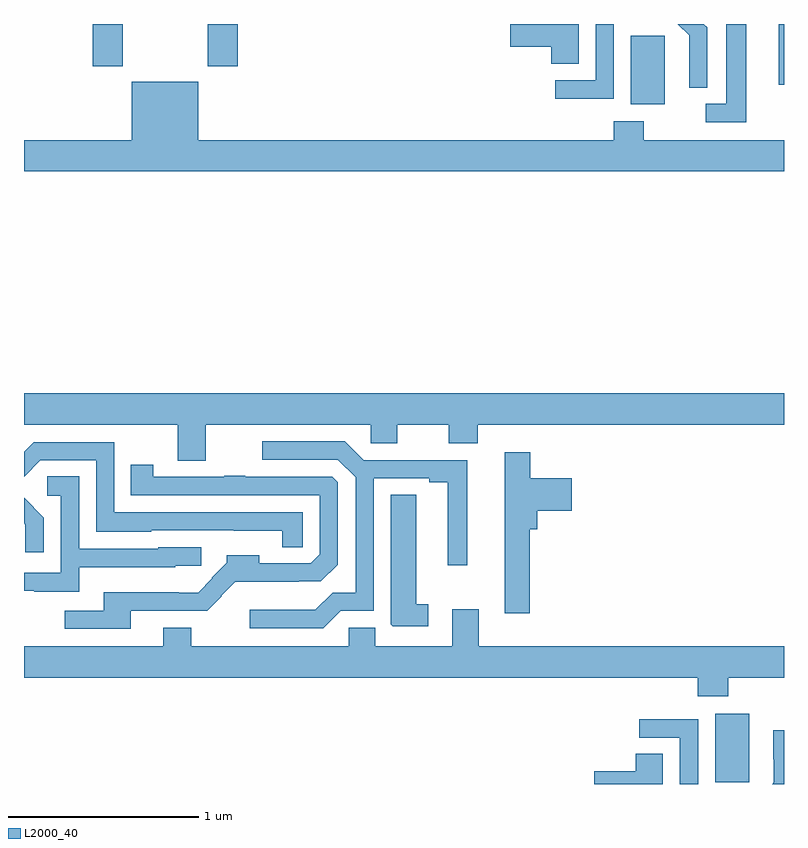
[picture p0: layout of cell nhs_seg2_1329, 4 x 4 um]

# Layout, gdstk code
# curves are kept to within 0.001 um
import gdstk
lib = gdstk.Library(unit=1e-6, precision=1e-09)
def R(c, l, rs):  # rectangles x0, y0, x1, y1
    for r in rs: c.add(gdstk.rectangle(r[:2], r[2:], *l))
def P(c, l, *ps):  # polygons
    for p in ps: c.add(gdstk.Polygon(p, *l))
L2000_40 = (2000, 40)

nhs_seg2_1329 = lib.new_cell('nhs_seg2_1329')
R(nhs_seg2_1329, L2000_40, [(184.637,589.809,184.816,590.17), (184.193,593.378,184.372,593.739), (184.973,593.481,185,593.8), (181.361,593.577,181.521,593.8), (181.966,593.577,182.126,593.8)])
P(nhs_seg2_1329, L2000_40, [(184.104,593.8),(184.008,593.8),(184.008,593.505),(183.795,593.505),(183.795,593.407),(184.104,593.407)],
  [(184.596,593.782),(184.578,593.8),(184.442,593.8),(184.502,593.741),(184.502,593.618),(184.5,593.618),(184.5,593.464),(184.596,593.464)],
  [(184.801,593.8),(184.697,593.8),(184.697,593.379),(184.587,593.379),(184.587,593.283),(184.801,593.283)],
  [(183.919,593.8),(183.558,593.8),(183.558,593.681),(183.776,593.681),(183.776,593.59),(183.919,593.59)],
  [(185,593.188),(184.263,593.188),(184.263,593.287),(184.103,593.287),(184.103,593.188),(181.918,593.188),(181.918,593.497),(181.568,593.497),(181.568,593.188),(181,593.188),(181,593.024),(185,593.024)],
  [(181.957,591.692),(182.826,591.692),(182.826,591.594),(182.965,591.594),(182.965,591.692),(183.236,591.692),(183.236,591.593),(183.389,591.593),(183.389,591.692),(185,591.692),(185,591.856),(181,591.856),(181,591.692),(181.81,591.692),(181.81,591.502),(181.957,591.502)],
  [(182.667,590.712),(182.841,590.712),(182.841,591.408),(183.134,591.408),(183.134,591.388),(183.23,591.388),(183.23,590.952),(183.334,590.952),(183.334,591.504),(182.788,591.504),(182.689,591.603),(182.253,591.603),(182.253,591.507),(182.652,591.507),(182.745,591.414),(182.745,590.807),(182.624,590.807),(182.533,590.716),(182.187,590.716),(182.187,590.619),(182.574,590.619)],
  [(182.466,591.231),(181.476,591.231),(181.476,591.6),(181.05,591.6),(181,591.55),(181,591.418),(181.086,591.504),(181.38,591.504),(181.38,591.128),(181.671,591.128),(181.671,591.135),(182.358,591.134),(182.358,591.046),(182.466,591.046)],
  [(183.662,591.14),(183.701,591.14),(183.701,591.239),(183.883,591.239),(183.883,591.409),(183.665,591.409),(183.665,591.547),(183.53,591.547),(183.53,590.7),(183.662,590.7)],
  [(181.561,590.712),(181.965,590.712),(182.041,590.789),(182.039,590.791),(182.113,590.865),(182.447,590.864),(182.447,590.866),(182.563,590.866),(182.652,590.955),(182.652,591.387),(182.622,591.417),(182.165,591.417),(182.165,591.422),(182.053,591.422),(182.053,591.417),(181.68,591.417),(181.68,591.481),(181.561,591.481),(181.561,591.321),(182.556,591.321),(182.556,591.009),(182.508,590.961),(182.239,590.961),(182.239,591.004),(182.068,591.004),(182.068,590.965),(181.989,590.886),(181.992,590.883),(181.916,590.807),(181.814,590.807),(181.814,590.809),(181.421,590.809),(181.421,590.712),(181.215,590.712),(181.215,590.616),(181.561,590.616)],
  [(181.291,590.942),(181.797,590.942),(181.797,590.949),(181.932,590.949),(181.932,591.045),(181.707,591.045),(181.707,591.039),(181.29,591.039),(181.29,591.419),(181.122,591.419),(181.122,591.318),(181.194,591.318),(181.194,590.913),(181,590.913),(181,590.817),(181.055,590.817),(181.055,590.813),(181.291,590.813)],
  [(183.127,590.747),(183.064,590.747),(183.064,591.323),(182.93,591.323),(182.93,590.641),(182.94,590.631),(183.127,590.631)],
  [(181.104,591.202),(181,591.306),(181,591.172),(181.007,591.165),(181.007,591.021),(181.104,591.021)],
  [(184.707,590.36),(185,590.36),(185,590.524),(183.394,590.524),(183.394,590.719),(183.254,590.719),(183.254,590.524),(182.848,590.524),(182.848,590.622),(182.709,590.622),(182.709,590.524),(181.881,590.524),(181.881,590.623),(181.733,590.623),(181.733,590.524),(181,590.524),(181,590.36),(184.547,590.36),(184.547,590.261),(184.707,590.261)],
  [(184.548,590.142),(184.239,590.142),(184.239,590.043),(184.452,590.043),(184.452,589.8),(184.548,589.8)],
  [(185,590.084),(184.944,590.084),(184.944,589.93),(184.946,589.93),(184.946,589.808),(184.938,589.8),(185,589.8)],
  [(184.363,589.958),(184.22,589.958),(184.22,589.868),(184.002,589.868),(184.002,589.8),(184.363,589.8)])

lib.write_gds('nhs_seg2_1329.gds')
